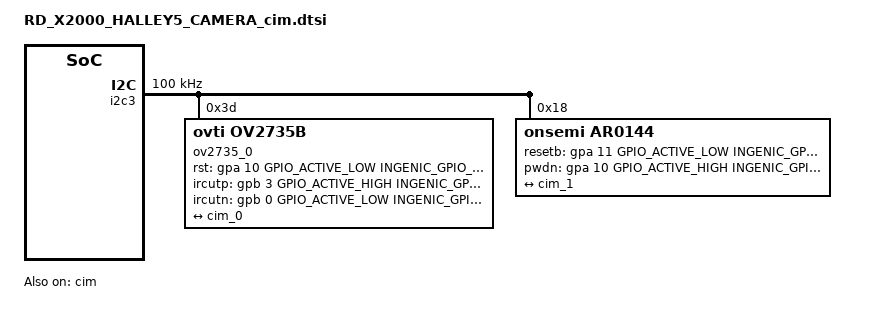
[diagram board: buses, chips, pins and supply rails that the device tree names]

&i2c3 {
	status = "okay";
	clock-frequency = <100000>;
	timeout = <1000>;
	pinctrl-names = "default";
	pinctrl-0 = <&i2c3_pa>;

	/*RD_X2000_HALLEY5_CAMERA_V4.2 DVP interface*/
	ov2735_0:ov2735@0x3d {
		status = "ok";
		compatible = "ovti,ov2735b";
		reg = <0x3d>;
		pinctrl-names = "default", "default";
		pinctrl-0 = <&vic_pa_low_10bit>;
		pinctrl-1 = <&cim_vic_mclk_pe>;

		ingenic,rst-gpio = <&gpa 10 GPIO_ACTIVE_LOW INGENIC_GPIO_NOBIAS>;
		ingenic,ircutp-gpio = <&gpb 3 GPIO_ACTIVE_HIGH INGENIC_GPIO_NOBIAS>;
		ingenic,ircutn-gpio = <&gpb 0 GPIO_ACTIVE_LOW INGENIC_GPIO_NOBIAS>;

		port {
			ov2735_ep0:endpoint {
				remote-endpoint = <&cim_0>;
			};
		};
	};

	/*RD_X2000_HALLEY5_CAMERA_V5.0 MIPI interface*/
	AR0144:AR0144@0x18 {
		status = "ok";
		compatible = "onsemi,ar0144";
		reg = <0x18>;
		pinctrl-names = "default","cim";
		pinctrl-0 = <&cim_vic_mclk_pe>, <&cim_pa>;


		resetb-gpios = <&gpa 11 GPIO_ACTIVE_LOW INGENIC_GPIO_NOBIAS>;
		pwdn-gpios = <&gpa 10 GPIO_ACTIVE_HIGH INGENIC_GPIO_NOBIAS>;


		port {
			AR0144_0:endpoint {
				remote-endpoint = <&cim_1>;
			};
		};
	};

};

&cim {
	status = "okay";
	port {
		cim_0: endpoint@0 {
			remote-endpoint = <&ov2735_ep0>;
			bus-width = <8>;	/* Used data lines */
			data-shift = <0>;	/* Lines 9:0 are used */
			bus-type = <5>;

			/* If hsync-active/vsync-active are missing,
			   embedded BT.656 sync is used */
			hsync-active = <1>;	/* Active high */
			vsync-active = <0>;	/* Active high */
			data-active = <1>;	/* Active high */
			pclk-sample = <0>;	/* Rising */
		};
		cim_1: endpoint@1 {
			remote-endpoint = <&AR0144_0>;
			data-lanes = <0 1>;
			clk-lanes = <2>;
		};
	};
};

